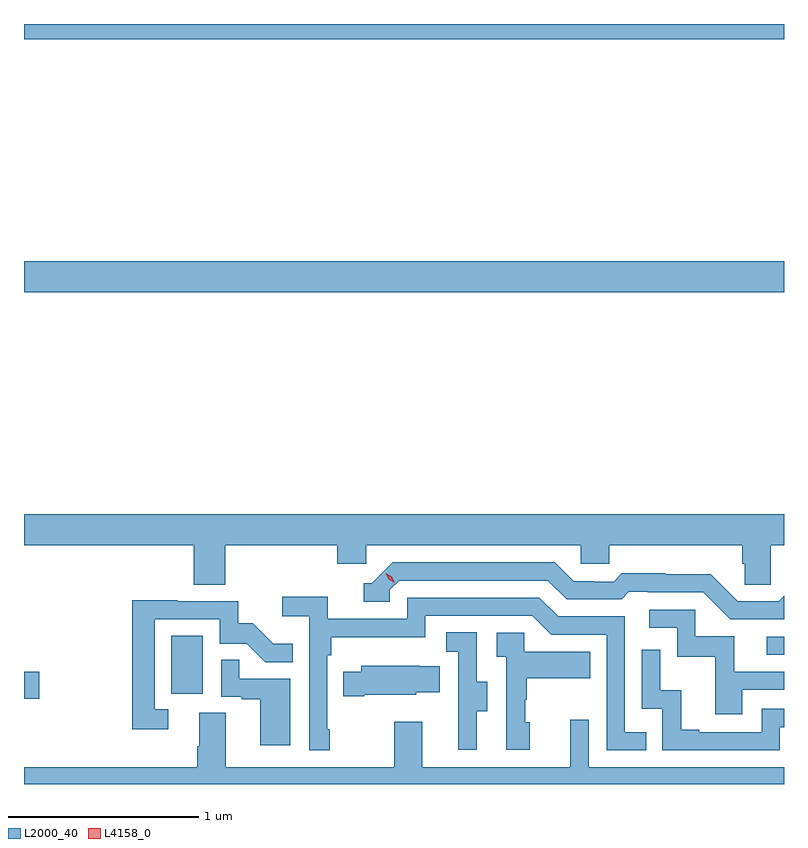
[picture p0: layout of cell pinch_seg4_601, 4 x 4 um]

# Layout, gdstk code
import gdstk
lib = gdstk.Library(unit=1e-6, precision=1e-09)
def R(c, l, rs):  # rectangles x0, y0, x1, y1
    for r in rs: c.add(gdstk.rectangle(r[:2], r[2:], *l))
def P(c, l, *ps):  # polygons
    for p in ps: c.add(gdstk.Polygon(p, *l))
L2000_40 = (2000, 40)
L4158_0 = (4158, 0)

pinch_seg4_601 = lib.new_cell('pinch_seg4_601')
R(pinch_seg4_601, L2000_40, [(1067.196,774.7,1067.275,774.842), (1067.972,774.726,1068.136,775.033), (1071.105,774.933,1071.196,775.026), (1067.196,776.84,1071.196,777.004), (1067.196,778.172,1071.196,778.252)])
P(pinch_seg4_601, L2000_40, [(1068.254,775.508),(1068.845,775.508),(1068.845,775.41),(1068.996,775.41),(1068.996,775.508),(1070.127,775.508),(1070.127,775.41),(1070.277,775.41),(1070.277,775.508),(1070.975,775.508),(1070.975,775.41),(1070.989,775.41),(1070.989,775.3),(1071.126,775.3),(1071.126,775.508),(1071.196,775.508),(1071.196,775.672),(1067.196,775.672),(1067.196,775.508),(1068.089,775.508),(1068.089,775.3),(1068.254,775.3)],
  [(1071.196,775.243),(1071.168,775.215),(1070.952,775.215),(1070.81,775.357),(1070.574,775.357),(1070.574,775.36),(1070.341,775.36),(1070.299,775.317),(1070.196,775.317),(1070.196,775.32),(1070.089,775.32),(1069.99,775.419),(1069.137,775.419),(1069.026,775.308),(1068.983,775.308),(1068.983,775.212),(1069.122,775.212),(1069.122,775.275),(1069.17,775.323),(1069.953,775.323),(1070.052,775.224),(1070.341,775.224),(1070.38,775.263),(1070.479,775.263),(1070.479,775.26),(1070.772,775.26),(1070.913,775.119),(1071.196,775.119)],
  [(1068.805,774.541),(1068.792,774.541),(1068.792,774.929),(1068.812,774.929),(1068.812,775.025),(1069.308,775.025),(1069.308,775.137),(1069.872,775.137),(1069.971,775.038),(1070.262,775.038),(1070.262,774.429),(1070.471,774.429),(1070.471,774.525),(1070.358,774.525),(1070.358,775.134),(1070.008,775.134),(1069.909,775.233),(1069.212,775.233),(1069.212,775.122),(1068.794,775.122),(1068.794,775.238),(1068.555,775.238),(1068.555,775.136),(1068.696,775.136),(1068.696,774.429),(1068.805,774.429)],
  [(1067.956,774.645),(1067.883,774.645),(1067.883,775.119),(1068.225,775.119),(1068.225,774.99),(1068.369,774.99),(1068.467,774.892),(1068.611,774.892),(1068.611,774.991),(1068.507,774.991),(1068.4,775.098),(1068.324,775.098),(1068.324,775.215),(1068.005,775.215),(1068.005,775.22),(1067.767,775.22),(1067.767,774.54),(1067.956,774.54)],
  [(1070.977,774.747),(1071.196,774.747),(1071.196,774.843),(1070.935,774.843),(1070.935,775.029),(1070.73,775.029),(1070.73,775.17),(1070.487,775.17),(1070.487,775.074),(1070.634,775.074),(1070.634,774.921),(1070.833,774.921),(1070.833,774.618),(1070.977,774.618)],
  [(1069.579,774.634),(1069.633,774.634),(1069.633,774.789),(1069.578,774.789),(1069.578,775.052),(1069.419,775.052),(1069.419,774.949),(1069.482,774.949),(1069.482,774.645),(1069.481,774.645),(1069.481,774.432),(1069.579,774.432)],
  [(1069.858,774.576),(1069.833,774.576),(1069.833,774.695),(1069.843,774.695),(1069.843,774.809),(1070.177,774.809),(1070.177,774.949),(1069.83,774.949),(1069.83,775.047),(1069.683,775.047),(1069.683,774.923),(1069.734,774.923),(1069.734,774.432),(1069.858,774.432)],
  [(1071.174,774.552),(1071.196,774.552),(1071.196,774.648),(1071.078,774.648),(1071.078,774.525),(1070.749,774.525),(1070.749,774.538),(1070.654,774.538),(1070.654,774.746),(1070.544,774.746),(1070.544,774.958),(1070.448,774.958),(1070.448,774.648),(1070.556,774.648),(1070.556,774.429),(1071.174,774.429)],
  [(1068.598,774.807),(1068.329,774.807),(1068.329,774.905),(1068.234,774.905),(1068.234,774.711),(1068.341,774.711),(1068.341,774.699),(1068.44,774.699),(1068.44,774.456),(1068.598,774.456)],
  [(1068.988,774.722),(1069.26,774.722),(1069.26,774.734),(1069.385,774.734),(1069.385,774.871),(1069.277,774.871),(1069.277,774.874),(1068.971,774.874),(1068.971,774.844),(1068.877,774.844),(1068.877,774.715),(1068.988,774.715)],
  [(1071.196,774.34),(1070.169,774.34),(1070.169,774.589),(1070.072,774.589),(1070.072,774.34),(1069.291,774.34),(1069.291,774.58),(1069.144,774.58),(1069.144,774.34),(1068.259,774.34),(1068.259,774.626),(1068.119,774.626),(1068.119,774.452),(1068.107,774.452),(1068.107,774.34),(1067.196,774.34),(1067.196,774.252),(1071.196,774.252)])
P(pinch_seg4_601, L4158_0, [(1069.147,775.31),(1069.116,775.329),(1069.099,775.361),(1069.099,775.362),(1069.1,775.362),(1069.131,775.343),(1069.147,775.31),(1069.147,775.31)])

lib.write_gds('pinch_seg4_601.gds')
